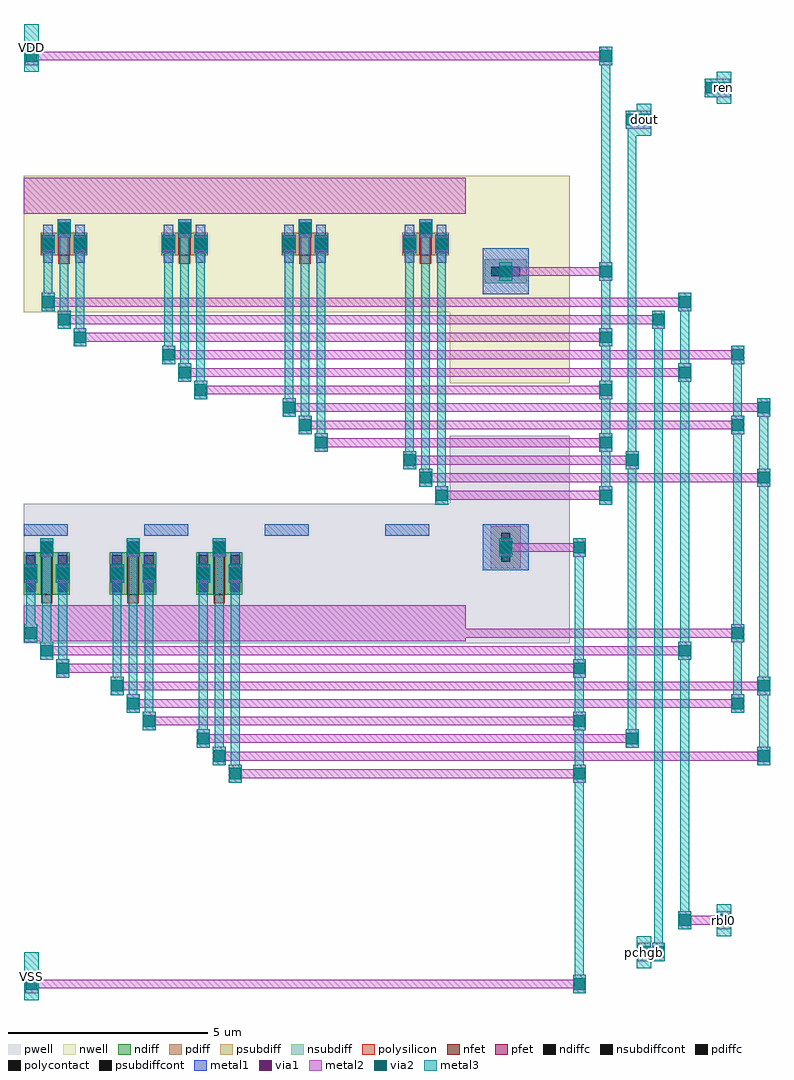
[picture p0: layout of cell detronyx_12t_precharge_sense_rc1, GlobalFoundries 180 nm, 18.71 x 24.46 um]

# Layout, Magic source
magic
tech gf180mcuD
magscale 1 10
<< nwell >>
rect 2376 3231 2976 4271
rect 240 3587 2456 4271
rect 240 3787 644 4071
rect 844 3787 1248 4071
rect 1448 3787 1852 4071
rect 2052 3787 2456 4071
<< pwell >>
rect 240 1928 2456 2627
rect 2376 1928 2976 2968
<< nfet >>
rect 328 2172 384 2383
rect 760 2172 816 2383
rect 1192 2172 1248 2383
<< pfet >>
rect 414 3873 470 3985
rect 1018 3873 1074 3985
rect 1622 3873 1678 3985
rect 2226 3873 2282 3985
<< ndiff >>
rect 240 2172 328 2185
rect 384 2172 472 2185
rect 672 2172 760 2185
rect 816 2172 904 2185
rect 1104 2172 1192 2185
rect 1248 2172 1336 2185
rect 240 2185 253 2370
rect 299 2185 328 2370
rect 384 2185 413 2370
rect 459 2185 472 2370
rect 672 2185 685 2370
rect 731 2185 760 2370
rect 816 2185 845 2370
rect 891 2185 904 2370
rect 1104 2185 1117 2370
rect 1163 2185 1192 2370
rect 1248 2185 1277 2370
rect 1323 2185 1336 2370
rect 240 2370 328 2383
rect 384 2370 472 2383
rect 672 2370 760 2383
rect 816 2370 904 2383
rect 1104 2370 1192 2383
rect 1248 2370 1336 2383
<< pdiff >>
rect 326 3873 414 3886
rect 470 3873 558 3886
rect 930 3873 1018 3886
rect 1074 3873 1162 3886
rect 1534 3873 1622 3886
rect 1678 3873 1766 3886
rect 2138 3873 2226 3886
rect 2282 3873 2370 3886
rect 326 3886 339 3972
rect 385 3886 414 3972
rect 470 3886 499 3972
rect 545 3886 558 3972
rect 930 3886 943 3972
rect 989 3886 1018 3972
rect 1074 3886 1103 3972
rect 1149 3886 1162 3972
rect 1534 3886 1547 3972
rect 1593 3886 1622 3972
rect 1678 3886 1707 3972
rect 1753 3886 1766 3972
rect 2138 3886 2151 3972
rect 2197 3886 2226 3972
rect 2282 3886 2311 3972
rect 2357 3886 2370 3972
rect 326 3972 414 3985
rect 470 3972 558 3985
rect 930 3972 1018 3985
rect 1074 3972 1162 3985
rect 1534 3972 1622 3985
rect 1678 3972 1766 3985
rect 2138 3972 2226 3985
rect 2282 3972 2370 3985
<< ndiffc >>
rect 253 2185 299 2370
rect 413 2185 459 2370
rect 685 2185 731 2370
rect 845 2185 891 2370
rect 1117 2185 1163 2370
rect 1277 2185 1323 2370
<< pdiffc >>
rect 339 3886 385 3972
rect 499 3886 545 3972
rect 943 3886 989 3972
rect 1103 3886 1149 3972
rect 1547 3886 1593 3972
rect 1707 3886 1753 3972
rect 2151 3886 2197 3972
rect 2311 3886 2357 3972
<< nsubdiff >>
rect 2551 3731 2761 3851
<< psubdiff >>
rect 2581 2303 2731 2513
<< nsubdiffcont >>
rect 2583 3768 2729 3814
<< psubdiffcont >>
rect 2633 2335 2679 2481
<< polysilicon >>
rect 328 2128 384 2172
rect 760 2128 816 2172
rect 1192 2128 1248 2172
rect 328 2378 384 2438
rect 760 2378 816 2438
rect 1192 2378 1248 2438
rect 328 2383 384 2427
rect 760 2383 816 2427
rect 1192 2383 1248 2427
rect 414 3829 470 3873
rect 1018 3829 1074 3873
rect 1622 3829 1678 3873
rect 2226 3829 2282 3873
rect 414 3977 470 4037
rect 1018 3977 1074 4037
rect 1622 3977 1678 4037
rect 2226 3977 2282 4037
rect 414 3985 470 4029
rect 1018 3985 1074 4029
rect 1622 3985 1678 4029
rect 2226 3985 2282 4029
<< polycontact >>
rect 333 2385 379 2431
rect 765 2385 811 2431
rect 1197 2385 1243 2431
rect 419 3984 465 4030
rect 1023 3984 1069 4030
rect 1627 3984 1673 4030
rect 2231 3984 2277 4030
<< metal1 >>
rect 253 2172 299 2185
rect 413 2172 459 2185
rect 685 2172 731 2185
rect 845 2172 891 2185
rect 1117 2172 1163 2185
rect 1277 2172 1323 2185
rect 253 2182 299 2372
rect 413 2182 459 2372
rect 685 2182 731 2372
rect 845 2182 891 2372
rect 1117 2182 1163 2372
rect 1277 2182 1323 2372
rect 244 2231 309 2323
rect 404 2231 469 2323
rect 676 2231 741 2323
rect 836 2231 901 2323
rect 1108 2231 1173 2323
rect 1268 2231 1333 2323
rect 2541 2293 2771 2523
rect 2633 2313 2679 2503
rect 324 2362 389 2454
rect 756 2362 821 2454
rect 1188 2362 1253 2454
rect 2624 2362 2689 2454
rect 2624 2362 2689 2454
rect 253 2370 299 2383
rect 413 2370 459 2383
rect 685 2370 731 2383
rect 845 2370 891 2383
rect 1117 2370 1163 2383
rect 1277 2370 1323 2383
rect 324 2376 389 2441
rect 756 2376 821 2441
rect 1188 2376 1253 2441
rect 240 2467 460 2523
rect 844 2467 1064 2523
rect 1448 2467 1668 2523
rect 2052 2467 2272 2523
rect 2541 3676 2771 3906
rect 2633 3696 2679 3886
rect 2624 3745 2689 3837
rect 2624 3745 2689 3837
rect 339 3834 385 4024
rect 499 3834 545 4024
rect 943 3834 989 4024
rect 1103 3834 1149 4024
rect 1547 3834 1593 4024
rect 1707 3834 1753 4024
rect 2151 3834 2197 4024
rect 2311 3834 2357 4024
rect 339 3873 385 3886
rect 499 3873 545 3886
rect 943 3873 989 3886
rect 1103 3873 1149 3886
rect 1547 3873 1593 3886
rect 1707 3873 1753 3886
rect 2151 3873 2197 3886
rect 2311 3873 2357 3886
rect 330 3883 395 3975
rect 490 3883 555 3975
rect 934 3883 999 3975
rect 1094 3883 1159 3975
rect 1538 3883 1603 3975
rect 1698 3883 1763 3975
rect 2142 3883 2207 3975
rect 2302 3883 2367 3975
rect 410 3961 475 4053
rect 1014 3961 1079 4053
rect 1618 3961 1683 4053
rect 2222 3961 2287 4053
rect 339 3972 385 3985
rect 499 3972 545 3985
rect 943 3972 989 3985
rect 1103 3972 1149 3985
rect 1547 3972 1593 3985
rect 1707 3972 1753 3985
rect 2151 3972 2197 3985
rect 2311 3972 2357 3985
rect 410 3975 475 4040
rect 1014 3975 1079 4040
rect 1618 3975 1683 4040
rect 2222 3975 2287 4040
<< via1 >>
rect 250 2251 302 2303
rect 410 2251 462 2303
rect 682 2251 734 2303
rect 842 2251 894 2303
rect 1114 2251 1166 2303
rect 1274 2251 1326 2303
rect 330 2382 382 2434
rect 762 2382 814 2434
rect 1194 2382 1246 2434
rect 2630 2382 2682 2434
rect 2630 2382 2682 2434
rect 2630 3765 2682 3817
rect 2630 3765 2682 3817
rect 336 3903 388 3955
rect 496 3903 548 3955
rect 940 3903 992 3955
rect 1100 3903 1152 3955
rect 1544 3903 1596 3955
rect 1704 3903 1756 3955
rect 2148 3903 2200 3955
rect 2308 3903 2360 3955
rect 416 3981 468 4033
rect 1020 3981 1072 4033
rect 1624 3981 1676 4033
rect 2228 3981 2280 4033
<< metal2 >>
rect 248 174 313 266
rect 2993 174 3058 266
rect 280 198 3025 242
rect 3317 334 3382 426
rect 3389 334 3454 426
rect 3349 358 3421 402
rect 3521 494 3586 586
rect 3717 494 3782 586
rect 3553 518 3749 562
rect 1268 1228 1333 1320
rect 2993 1228 3058 1320
rect 1300 1252 3025 1296
rect 1188 1316 1253 1408
rect 3917 1316 3982 1408
rect 1220 1340 3949 1384
rect 1108 1404 1173 1496
rect 3257 1404 3322 1496
rect 1140 1428 3289 1472
rect 836 1492 901 1584
rect 2993 1492 3058 1584
rect 868 1516 3025 1560
rect 756 1580 821 1672
rect 3785 1580 3850 1672
rect 788 1604 3817 1648
rect 676 1668 741 1760
rect 3917 1668 3982 1760
rect 708 1692 3949 1736
rect 404 1756 469 1848
rect 2993 1756 3058 1848
rect 436 1780 3025 1824
rect 324 1844 389 1936
rect 3521 1844 3586 1936
rect 356 1868 3553 1912
rect 244 1932 309 2024
rect 3785 1932 3850 2024
rect 240 1938 2456 2118
rect 276 1956 3817 2000
rect 244 2231 309 2323
rect 244 2231 309 2323
rect 404 2231 469 2323
rect 404 2231 469 2323
rect 676 2231 741 2323
rect 676 2231 741 2323
rect 836 2231 901 2323
rect 836 2231 901 2323
rect 1108 2231 1173 2323
rect 1108 2231 1173 2323
rect 1268 2231 1333 2323
rect 1268 2231 1333 2323
rect 324 2362 389 2454
rect 324 2362 389 2454
rect 756 2362 821 2454
rect 756 2362 821 2454
rect 1188 2362 1253 2454
rect 1188 2362 1253 2454
rect 2624 2362 2689 2454
rect 2624 2362 2689 2454
rect 2624 2362 2689 2454
rect 2624 2362 2689 2454
rect 2993 2362 3058 2454
rect 2656 2386 3025 2430
rect 2302 2623 2367 2715
rect 3125 2623 3190 2715
rect 2334 2647 3157 2691
rect 2222 2711 2287 2803
rect 3917 2711 3982 2803
rect 2254 2735 3949 2779
rect 2142 2799 2207 2891
rect 3257 2799 3322 2891
rect 2174 2823 3289 2867
rect 1698 2887 1763 2979
rect 3125 2887 3190 2979
rect 1730 2911 3157 2955
rect 1618 2975 1683 3067
rect 3785 2975 3850 3067
rect 1650 2999 3817 3043
rect 1538 3063 1603 3155
rect 3917 3063 3982 3155
rect 1570 3087 3949 3131
rect 1094 3151 1159 3243
rect 3125 3151 3190 3243
rect 1126 3175 3157 3219
rect 1014 3239 1079 3331
rect 3521 3239 3586 3331
rect 1046 3263 3553 3307
rect 934 3327 999 3419
rect 3785 3327 3850 3419
rect 966 3351 3817 3395
rect 490 3415 555 3507
rect 3125 3415 3190 3507
rect 522 3439 3157 3483
rect 410 3503 475 3595
rect 3389 3503 3454 3595
rect 442 3527 3421 3571
rect 330 3591 395 3683
rect 3521 3591 3586 3683
rect 362 3615 3553 3659
rect 2624 3745 2689 3837
rect 2624 3745 2689 3837
rect 2624 3745 2689 3837
rect 2624 3745 2689 3837
rect 3125 3745 3190 3837
rect 2656 3769 3157 3813
rect 330 3883 395 3975
rect 330 3883 395 3975
rect 490 3883 555 3975
rect 490 3883 555 3975
rect 934 3883 999 3975
rect 934 3883 999 3975
rect 1094 3883 1159 3975
rect 1094 3883 1159 3975
rect 1538 3883 1603 3975
rect 1538 3883 1603 3975
rect 1698 3883 1763 3975
rect 1698 3883 1763 3975
rect 2142 3883 2207 3975
rect 2142 3883 2207 3975
rect 2302 3883 2367 3975
rect 2302 3883 2367 3975
rect 410 3961 475 4053
rect 410 3961 475 4053
rect 1014 3961 1079 4053
rect 1014 3961 1079 4053
rect 1618 3961 1683 4053
rect 1618 3961 1683 4053
rect 2222 3961 2287 4053
rect 2222 3961 2287 4053
rect 240 4081 2456 4261
rect 3257 4505 3322 4597
rect 3317 4505 3382 4597
rect 3289 4529 3349 4573
rect 3653 4665 3718 4757
rect 3717 4665 3782 4757
rect 3685 4689 3749 4733
rect 248 4825 313 4917
rect 3125 4825 3190 4917
rect 280 4849 3157 4893
<< via2 >>
rect 252 192 309 249
rect 2997 192 3054 249
rect 3321 352 3378 409
rect 3393 352 3450 409
rect 3525 512 3582 569
rect 3721 512 3778 569
rect 1272 1246 1329 1303
rect 2997 1246 3054 1303
rect 1192 1334 1249 1391
rect 3921 1334 3978 1391
rect 1112 1422 1169 1479
rect 3261 1422 3318 1479
rect 840 1510 897 1567
rect 2997 1510 3054 1567
rect 760 1598 817 1655
rect 3789 1598 3846 1655
rect 680 1686 737 1743
rect 3921 1686 3978 1743
rect 408 1774 465 1831
rect 2997 1774 3054 1831
rect 328 1862 385 1919
rect 3525 1862 3582 1919
rect 248 1950 305 2007
rect 3789 1950 3846 2007
rect 248 2249 305 2306
rect 408 2249 465 2306
rect 680 2249 737 2306
rect 840 2249 897 2306
rect 1112 2249 1169 2306
rect 1272 2249 1329 2306
rect 328 2380 385 2437
rect 760 2380 817 2437
rect 1192 2380 1249 2437
rect 2628 2380 2685 2437
rect 2628 2380 2685 2437
rect 2997 2380 3054 2437
rect 2306 2641 2363 2698
rect 3129 2641 3186 2698
rect 2226 2729 2283 2786
rect 3921 2729 3978 2786
rect 2146 2817 2203 2874
rect 3261 2817 3318 2874
rect 1702 2905 1759 2962
rect 3129 2905 3186 2962
rect 1622 2993 1679 3050
rect 3789 2993 3846 3050
rect 1542 3081 1599 3138
rect 3921 3081 3978 3138
rect 1098 3169 1155 3226
rect 3129 3169 3186 3226
rect 1018 3257 1075 3314
rect 3525 3257 3582 3314
rect 938 3345 995 3402
rect 3789 3345 3846 3402
rect 494 3433 551 3490
rect 3129 3433 3186 3490
rect 414 3521 471 3578
rect 3393 3521 3450 3578
rect 334 3609 391 3666
rect 3525 3609 3582 3666
rect 2628 3763 2685 3820
rect 2628 3763 2685 3820
rect 3129 3763 3186 3820
rect 334 3901 391 3958
rect 494 3901 551 3958
rect 938 3901 995 3958
rect 1098 3901 1155 3958
rect 1542 3901 1599 3958
rect 1702 3901 1759 3958
rect 2146 3901 2203 3958
rect 2306 3901 2363 3958
rect 414 3979 471 4036
rect 1018 3979 1075 4036
rect 1622 3979 1679 4036
rect 2226 3979 2283 4036
rect 3261 4523 3318 4580
rect 3321 4523 3378 4580
rect 3657 4683 3714 4740
rect 3721 4683 3778 4740
rect 252 4843 309 4900
rect 3129 4843 3186 4900
<< metal3 >>
rect 244 140 316 380
rect 248 174 313 266
rect 2993 174 3058 266
rect 3003 220 3047 2408
rect 3313 300 3385 460
rect 3317 334 3382 426
rect 3389 334 3454 426
rect 3399 380 3443 3549
rect 3713 460 3785 620
rect 3521 494 3586 586
rect 3717 494 3782 586
rect 3531 540 3575 3637
rect 1268 1228 1333 1320
rect 2993 1228 3058 1320
rect 1278 1274 1322 2277
rect 1188 1316 1253 1408
rect 3917 1316 3982 1408
rect 1198 1362 1242 2408
rect 3927 1362 3971 3109
rect 1108 1404 1173 1496
rect 3257 1404 3322 1496
rect 1118 1450 1162 2277
rect 3267 1450 3311 4551
rect 836 1492 901 1584
rect 2993 1492 3058 1584
rect 846 1538 890 2277
rect 756 1580 821 1672
rect 3785 1580 3850 1672
rect 766 1626 810 2408
rect 3795 1626 3839 3373
rect 676 1668 741 1760
rect 3917 1668 3982 1760
rect 686 1714 730 2277
rect 404 1756 469 1848
rect 2993 1756 3058 1848
rect 414 1802 458 2277
rect 324 1844 389 1936
rect 3521 1844 3586 1936
rect 334 1890 378 2408
rect 244 1932 309 2024
rect 3785 1932 3850 2024
rect 254 1978 298 2277
rect 244 2231 309 2323
rect 404 2231 469 2323
rect 676 2231 741 2323
rect 836 2231 901 2323
rect 1108 2231 1173 2323
rect 1268 2231 1333 2323
rect 324 2362 389 2454
rect 756 2362 821 2454
rect 1188 2362 1253 2454
rect 2624 2362 2689 2454
rect 2624 2362 2689 2454
rect 2993 2362 3058 2454
rect 2302 2623 2367 2715
rect 3125 2623 3190 2715
rect 2312 2669 2356 3929
rect 3135 2669 3179 4871
rect 2222 2711 2287 2803
rect 3917 2711 3982 2803
rect 2232 2757 2276 4007
rect 2142 2799 2207 2891
rect 3257 2799 3322 2891
rect 2152 2845 2196 3929
rect 1698 2887 1763 2979
rect 3125 2887 3190 2979
rect 1708 2933 1752 3929
rect 1618 2975 1683 3067
rect 3785 2975 3850 3067
rect 1628 3021 1672 4007
rect 1538 3063 1603 3155
rect 3917 3063 3982 3155
rect 1548 3109 1592 3929
rect 1094 3151 1159 3243
rect 3125 3151 3190 3243
rect 1104 3197 1148 3929
rect 1014 3239 1079 3331
rect 3521 3239 3586 3331
rect 1024 3285 1068 4007
rect 934 3327 999 3419
rect 3785 3327 3850 3419
rect 944 3373 988 3929
rect 490 3415 555 3507
rect 3125 3415 3190 3507
rect 500 3461 544 3929
rect 410 3503 475 3595
rect 3389 3503 3454 3595
rect 420 3549 464 4007
rect 330 3591 395 3683
rect 3521 3591 3586 3683
rect 340 3637 384 3929
rect 2624 3745 2689 3837
rect 2624 3745 2689 3837
rect 3125 3745 3190 3837
rect 330 3883 395 3975
rect 490 3883 555 3975
rect 934 3883 999 3975
rect 1094 3883 1159 3975
rect 1538 3883 1603 3975
rect 1698 3883 1763 3975
rect 2142 3883 2207 3975
rect 2302 3883 2367 3975
rect 410 3961 475 4053
rect 1014 3961 1079 4053
rect 1618 3961 1683 4053
rect 2222 3961 2287 4053
rect 3313 4471 3385 4631
rect 3257 4505 3322 4597
rect 3317 4505 3382 4597
rect 3713 4631 3785 4791
rect 3653 4665 3718 4757
rect 3717 4665 3782 4757
rect 244 4791 316 5031
rect 248 4825 313 4917
rect 3125 4825 3190 4917
<< labels >>
flabel metal3 280 4911 280 4911 0 FreeSans 93 0 0 0 VDD
port 1 nsew
flabel metal3 280 260 280 260 0 FreeSans 93 0 0 0 VSS
port 2 nsew
flabel metal3 3349 380 3349 380 0 FreeSans 93 0 0 0 pchgb
port 3 nsew
flabel metal3 3749 4711 3749 4711 0 FreeSans 93 0 0 0 ren
port 4 nsew
flabel metal3 3749 540 3749 540 0 FreeSans 93 0 0 0 rbl0
port 5 nsew
flabel metal3 3349 4551 3349 4551 0 FreeSans 93 0 0 0 dout
port 6 nsew
<< properties >>
string FIXED_BBOX 0 0 3982 5031
string DETRONYX_PERIPHERY_BLOCK precharge_sense
string DETRONYX_TRANSISTOR_RESIZE_ALLOWED false
string DETRONYX_LVS_STATUS pitch_compatible_column_leaf_rc2
<< end >>
